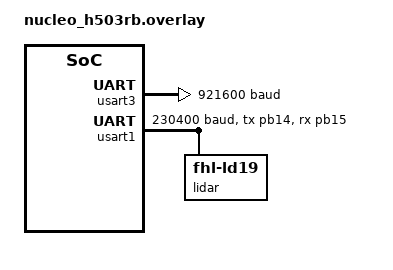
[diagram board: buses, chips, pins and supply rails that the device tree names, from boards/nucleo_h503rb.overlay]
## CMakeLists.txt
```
cmake_minimum_required(VERSION 3.20.0)

find_package(Zephyr REQUIRED HINTS $ENV{ZEPHYR_BASE})
project(test_lidar)

target_include_directories(app PRIVATE src)

file(GLOB_RECURSE APP_SOURCES src/*.c)

target_sources(app PRIVATE ${APP_SOURCES})
```

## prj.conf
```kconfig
# SERIAL
CONFIG_SERIAL=y
CONFIG_LOG=y
CONFIG_UART_INTERRUPT_DRIVEN=y

CONFIG_LOG_MODE_DEFERRED=y
CONFIG_LOG_BACKEND_SHOW_COLOR=y
CONFIG_LOG_DEFAULT_LEVEL=3
CONFIG_LOG_BUFFER_SIZE=8192

CONFIG_LIDAR=y

CONFIG_CBPRINTF_COMPLETE=y
CONFIG_CBPRINTF_FP_SUPPORT=y
```

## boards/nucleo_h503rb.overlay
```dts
&usart3 {
	current-speed = <921600>;
};

usart1: &usart1 {
	status = "okay";
	pinctrl-0 = <&usart1_tx_pb14 &usart1_rx_pb15>;
	pinctrl-names = "default";
	current-speed = <230400>;

    lidar: lidar {
        compatible = "zephyr,fhl-ld19";
        status = "okay";
    };
};
```

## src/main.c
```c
#include <zephyr/kernel.h>
#include <zephyr/logging/log.h>
#include <pokibot/drivers/lidar.h>

LOG_MODULE_REGISTER(main);

const struct device *lidar_dev = DEVICE_DT_GET(DT_NODELABEL(lidar));

// Use this with the lidar visualizer tool
const int decimation = 4;
int decimation_counter = 0;

void lidar_callback(const struct lidar_point *points, size_t nb_points, void *user_data)
{
    LOG_RAW("LP|");
    for (size_t i = 0; i < nb_points; i++) {
        const struct lidar_point *point = &points[i];
        decimation_counter = (decimation_counter + 1) % decimation;
        if (!decimation_counter) {
            LOG_RAW(">%0.3f;%0.3f", (double)point->angle, (double)point->distance);
        }
    }
    LOG_RAW("\n");
}

int main(void)
{
    static struct lidar_callback lidar_clbk = {
        .clbk = lidar_callback,
    };
    lidar_register_callback(lidar_dev, &lidar_clbk);
    lidar_start(lidar_dev);

    return 0;
}
```
